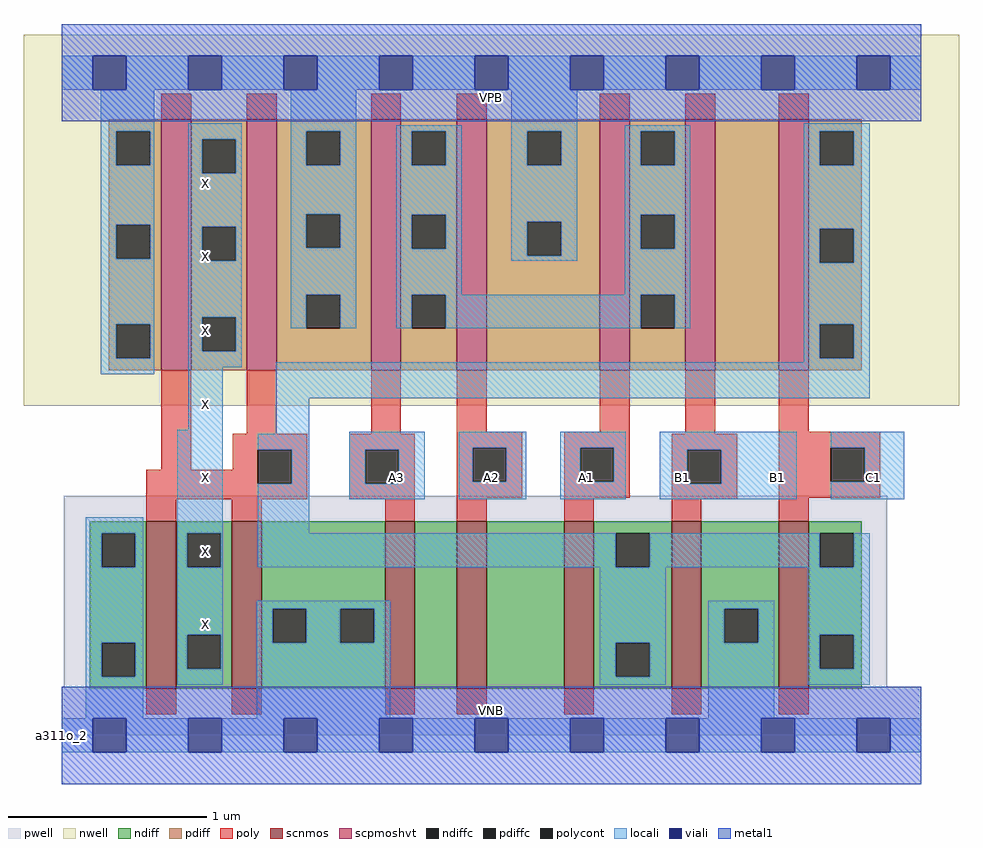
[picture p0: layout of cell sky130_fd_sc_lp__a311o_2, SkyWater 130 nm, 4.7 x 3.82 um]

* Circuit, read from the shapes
.subckt sky130_fd_sc_lp__a311o_2 A1 A2 A3 B1 C1 VGND VNB VPB VPWR X
XM1 X n1 VGND VNB sky130_fd_pr__nfet_01v8 w=0.84 l=0.15 m=2
XM2 n2 A3 VGND VNB sky130_fd_pr__nfet_01v8 w=0.84 l=0.15
XM3 n3 A2 n2 VNB sky130_fd_pr__nfet_01v8 w=0.84 l=0.15
XM4 n1 A1 n3 VNB sky130_fd_pr__nfet_01v8 w=0.84 l=0.15
XM5 VGND B1 n1 VNB sky130_fd_pr__nfet_01v8 w=0.84 l=0.15
XM6 n1 C1 VGND VNB sky130_fd_pr__nfet_01v8 w=0.84 l=0.15
XM7 X n1 VPWR VPB sky130_fd_pr__pfet_01v8_hvt w=1.26 l=0.15 m=2
XM8 n4 A3 VPWR VPB sky130_fd_pr__pfet_01v8_hvt w=1.26 l=0.15
XM9 VPWR A2 n4 VPB sky130_fd_pr__pfet_01v8_hvt w=1.26 l=0.15
XM10 n4 A1 VPWR VPB sky130_fd_pr__pfet_01v8_hvt w=1.26 l=0.15
XM11 n5 B1 n4 VPB sky130_fd_pr__pfet_01v8_hvt w=1.26 l=0.15
XM12 n1 C1 n5 VPB sky130_fd_pr__pfet_01v8_hvt w=1.26 l=0.15
.ends

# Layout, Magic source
magic
tech sky130A
magscale 1 2
<< nwell >>
rect -38 331 902 704
<< pwell >>
rect 2 49 830 241
rect 0 0 864 49
<< scnmos >>
rect 85 47 115 215
rect 171 47 201 215
rect 325 47 355 215
rect 397 47 427 215
rect 505 47 535 215
rect 613 47 643 215
rect 721 47 751 215
<< scpmoshvt >>
rect 100 367 130 619
rect 186 367 216 619
rect 311 367 341 619
rect 397 367 427 619
rect 541 367 571 619
rect 627 367 657 619
rect 721 367 751 619
<< ndiff >>
rect 28 203 85 215
rect 28 169 40 203
rect 74 169 85 203
rect 28 93 85 169
rect 28 59 40 93
rect 74 59 85 93
rect 28 47 85 59
rect 115 203 171 215
rect 115 169 126 203
rect 160 169 171 203
rect 115 101 171 169
rect 115 67 126 101
rect 160 67 171 101
rect 115 47 171 67
rect 201 127 325 215
rect 201 93 212 127
rect 246 93 280 127
rect 314 93 325 127
rect 201 47 325 93
rect 355 47 397 215
rect 427 47 505 215
rect 535 203 613 215
rect 535 169 557 203
rect 591 169 613 203
rect 535 93 613 169
rect 535 59 557 93
rect 591 59 613 93
rect 535 47 613 59
rect 643 127 721 215
rect 643 93 666 127
rect 700 93 721 127
rect 643 47 721 93
rect 751 203 804 215
rect 751 169 762 203
rect 796 169 804 203
rect 751 101 804 169
rect 751 67 762 101
rect 796 67 804 101
rect 751 47 804 67
<< pdiff >>
rect 47 607 100 619
rect 47 573 55 607
rect 89 573 100 607
rect 47 513 100 573
rect 47 479 55 513
rect 89 479 100 513
rect 47 413 100 479
rect 47 379 55 413
rect 89 379 100 413
rect 47 367 100 379
rect 130 599 186 619
rect 130 565 141 599
rect 175 565 186 599
rect 130 511 186 565
rect 130 477 141 511
rect 175 477 186 511
rect 130 420 186 477
rect 130 386 141 420
rect 175 386 186 420
rect 130 367 186 386
rect 216 607 311 619
rect 216 573 246 607
rect 280 573 311 607
rect 216 524 311 573
rect 216 490 246 524
rect 280 490 311 524
rect 216 443 311 490
rect 216 409 246 443
rect 280 409 311 443
rect 216 367 311 409
rect 341 607 397 619
rect 341 573 352 607
rect 386 573 397 607
rect 341 523 397 573
rect 341 489 352 523
rect 386 489 397 523
rect 341 443 397 489
rect 341 409 352 443
rect 386 409 397 443
rect 341 367 397 409
rect 427 607 541 619
rect 427 573 468 607
rect 502 573 541 607
rect 427 516 541 573
rect 427 482 468 516
rect 502 482 541 516
rect 427 367 541 482
rect 571 607 627 619
rect 571 573 582 607
rect 616 573 627 607
rect 571 523 627 573
rect 571 489 582 523
rect 616 489 627 523
rect 571 443 627 489
rect 571 409 582 443
rect 616 409 627 443
rect 571 367 627 409
rect 657 367 721 619
rect 751 607 804 619
rect 751 573 762 607
rect 796 573 804 607
rect 751 509 804 573
rect 751 475 762 509
rect 796 475 804 509
rect 751 413 804 475
rect 751 379 762 413
rect 796 379 804 413
rect 751 367 804 379
<< ndiffc >>
rect 40 169 74 203
rect 40 59 74 93
rect 126 169 160 203
rect 126 67 160 101
rect 212 93 246 127
rect 280 93 314 127
rect 557 169 591 203
rect 557 59 591 93
rect 666 93 700 127
rect 762 169 796 203
rect 762 67 796 101
<< pdiffc >>
rect 55 573 89 607
rect 55 479 89 513
rect 55 379 89 413
rect 141 565 175 599
rect 141 477 175 511
rect 141 386 175 420
rect 246 573 280 607
rect 246 490 280 524
rect 246 409 280 443
rect 352 573 386 607
rect 352 489 386 523
rect 352 409 386 443
rect 468 573 502 607
rect 468 482 502 516
rect 582 573 616 607
rect 582 489 616 523
rect 582 409 616 443
rect 762 573 796 607
rect 762 475 796 509
rect 762 379 796 413
<< poly >>
rect 100 619 130 645
rect 186 619 216 645
rect 311 619 341 645
rect 397 619 427 645
rect 541 619 571 645
rect 627 619 657 645
rect 721 619 751 645
rect 100 267 130 367
rect 186 303 216 367
rect 311 303 341 367
rect 397 305 427 367
rect 541 305 571 367
rect 172 287 247 303
rect 172 267 197 287
rect 85 253 197 267
rect 231 253 247 287
rect 85 237 247 253
rect 289 287 355 303
rect 289 253 305 287
rect 339 253 355 287
rect 289 237 355 253
rect 85 215 115 237
rect 171 215 201 237
rect 325 215 355 237
rect 397 289 463 305
rect 397 255 413 289
rect 447 255 463 289
rect 397 239 463 255
rect 505 289 571 305
rect 627 303 657 367
rect 721 305 751 367
rect 505 255 521 289
rect 555 255 571 289
rect 505 239 571 255
rect 613 287 679 303
rect 613 253 629 287
rect 663 253 679 287
rect 397 215 427 239
rect 505 215 535 239
rect 613 237 679 253
rect 721 289 823 305
rect 721 255 773 289
rect 807 255 823 289
rect 721 239 823 255
rect 613 215 643 237
rect 721 215 751 239
rect 85 21 115 47
rect 171 21 201 47
rect 325 21 355 47
rect 397 21 427 47
rect 505 21 535 47
rect 613 21 643 47
rect 721 21 751 47
<< polycont >>
rect 197 253 231 287
rect 305 253 339 287
rect 413 255 447 289
rect 521 255 555 289
rect 629 253 663 287
rect 773 255 807 289
<< locali >>
rect 0 649 31 683
rect 65 649 127 683
rect 161 649 223 683
rect 257 649 319 683
rect 353 649 415 683
rect 449 649 511 683
rect 545 649 607 683
rect 641 649 703 683
rect 737 649 799 683
rect 833 649 864 683
rect 39 607 93 649
rect 39 573 55 607
rect 89 573 93 607
rect 39 513 93 573
rect 39 479 55 513
rect 89 479 93 513
rect 39 413 93 479
rect 39 379 55 413
rect 89 379 93 413
rect 39 363 93 379
rect 127 599 181 615
rect 127 565 141 599
rect 175 565 181 599
rect 127 511 181 565
rect 127 477 141 511
rect 175 477 181 511
rect 127 420 181 477
rect 127 386 141 420
rect 175 386 181 420
rect 230 607 296 649
rect 230 573 246 607
rect 280 573 296 607
rect 230 524 296 573
rect 230 490 246 524
rect 280 490 296 524
rect 230 443 296 490
rect 230 409 246 443
rect 280 409 296 443
rect 336 607 402 613
rect 336 573 352 607
rect 386 573 402 607
rect 336 523 402 573
rect 336 489 352 523
rect 386 489 402 523
rect 336 443 402 489
rect 452 607 518 649
rect 452 573 468 607
rect 502 573 518 607
rect 452 516 518 573
rect 452 482 468 516
rect 502 482 518 516
rect 452 477 518 482
rect 566 607 632 613
rect 566 573 582 607
rect 616 573 632 607
rect 566 523 632 573
rect 566 489 582 523
rect 616 489 632 523
rect 566 443 632 489
rect 336 409 352 443
rect 386 409 582 443
rect 616 409 632 443
rect 746 607 812 615
rect 746 573 762 607
rect 796 573 812 607
rect 746 509 812 573
rect 746 475 762 509
rect 796 475 812 509
rect 746 413 812 475
rect 127 370 181 386
rect 746 379 762 413
rect 796 379 812 413
rect 746 375 812 379
rect 127 307 162 370
rect 24 203 82 219
rect 24 169 40 203
rect 74 169 82 203
rect 24 93 82 169
rect 24 59 40 93
rect 74 59 82 93
rect 24 17 82 59
rect 116 203 162 307
rect 215 339 812 375
rect 215 303 249 339
rect 116 169 126 203
rect 160 169 162 203
rect 197 287 249 303
rect 231 253 249 287
rect 197 203 249 253
rect 289 287 365 305
rect 289 253 305 287
rect 339 253 365 287
rect 289 237 365 253
rect 399 289 467 305
rect 399 255 413 289
rect 447 255 467 289
rect 399 237 467 255
rect 501 289 567 305
rect 501 255 521 289
rect 555 255 567 289
rect 501 237 567 255
rect 601 287 739 305
rect 601 253 629 287
rect 663 253 739 287
rect 601 237 739 253
rect 773 289 847 305
rect 807 255 847 289
rect 773 237 847 255
rect 197 169 557 203
rect 591 169 762 203
rect 796 169 812 203
rect 116 101 162 169
rect 116 67 126 101
rect 160 67 162 101
rect 116 51 162 67
rect 196 127 330 135
rect 196 93 212 127
rect 246 93 280 127
rect 314 93 330 127
rect 196 17 330 93
rect 541 93 607 169
rect 541 59 557 93
rect 591 59 607 93
rect 541 51 607 59
rect 650 127 716 135
rect 650 93 666 127
rect 700 93 716 127
rect 650 17 716 93
rect 750 101 812 169
rect 750 67 762 101
rect 796 67 812 101
rect 750 51 812 67
rect 0 -17 31 17
rect 65 -17 127 17
rect 161 -17 223 17
rect 257 -17 319 17
rect 353 -17 415 17
rect 449 -17 511 17
rect 545 -17 607 17
rect 641 -17 703 17
rect 737 -17 799 17
rect 833 -17 864 17
<< viali >>
rect 31 649 65 683
rect 127 649 161 683
rect 223 649 257 683
rect 319 649 353 683
rect 415 649 449 683
rect 511 649 545 683
rect 607 649 641 683
rect 703 649 737 683
rect 799 649 833 683
rect 31 -17 65 17
rect 127 -17 161 17
rect 223 -17 257 17
rect 319 -17 353 17
rect 415 -17 449 17
rect 511 -17 545 17
rect 607 -17 641 17
rect 703 -17 737 17
rect 799 -17 833 17
<< metal1 >>
rect 0 683 864 715
rect 0 649 31 683
rect 65 649 127 683
rect 161 649 223 683
rect 257 649 319 683
rect 353 649 415 683
rect 449 649 511 683
rect 545 649 607 683
rect 641 649 703 683
rect 737 649 799 683
rect 833 649 864 683
rect 0 617 864 649
rect 0 17 864 49
rect 0 -17 31 17
rect 65 -17 127 17
rect 161 -17 223 17
rect 257 -17 319 17
rect 353 -17 415 17
rect 449 -17 511 17
rect 545 -17 607 17
rect 641 -17 703 17
rect 737 -17 799 17
rect 833 -17 864 17
rect 0 -49 864 -17
<< labels >>
flabel pwell s 0 0 864 49 0 FreeSans 200 0 0 0 VNB
port 7 nsew ground bidirectional
flabel nwell s 0 617 864 666 0 FreeSans 200 0 0 0 VPB
port 8 nsew power bidirectional
rlabel comment s 0 0 0 0 4 a311o_2
flabel metal1 s 0 617 864 666 0 FreeSans 340 0 0 0 VPWR
port 9 nsew power bidirectional
flabel metal1 s 0 0 864 49 0 FreeSans 340 0 0 0 VGND
port 6 nsew ground bidirectional
flabel locali s 127 94 161 128 0 FreeSans 340 0 0 0 X
port 10 nsew signal output
flabel locali s 127 168 161 202 0 FreeSans 340 0 0 0 X
port 10 nsew signal output
flabel locali s 127 242 161 276 0 FreeSans 340 0 0 0 X
port 10 nsew signal output
flabel locali s 127 316 161 350 0 FreeSans 340 0 0 0 X
port 10 nsew signal output
flabel locali s 127 390 161 424 0 FreeSans 340 0 0 0 X
port 10 nsew signal output
flabel locali s 127 464 161 498 0 FreeSans 340 0 0 0 X
port 10 nsew signal output
flabel locali s 127 538 161 572 0 FreeSans 340 0 0 0 X
port 10 nsew signal output
flabel locali s 511 242 545 276 0 FreeSans 340 0 0 0 A1
port 1 nsew signal input
flabel locali s 415 242 449 276 0 FreeSans 340 0 0 0 A2
port 2 nsew signal input
flabel locali s 319 242 353 276 0 FreeSans 340 0 0 0 A3
port 3 nsew signal input
flabel locali s 607 242 641 276 0 FreeSans 340 0 0 0 B1
port 4 nsew signal input
flabel locali s 703 242 737 276 0 FreeSans 340 0 0 0 B1
port 4 nsew signal input
flabel locali s 799 242 833 276 0 FreeSans 340 0 0 0 C1
port 5 nsew signal input
<< properties >>
string LEFsite unit
string LEFclass CORE
string FIXED_BBOX 0 0 864 666
string GDS_FILE $PDKPATH/libs.ref/sky130_fd_sc_lp/gds/sky130_fd_sc_lp.gds
string LEFsymmetry X Y R90
string GDS_END 3891356
string GDS_START 3883128
<< end >>
